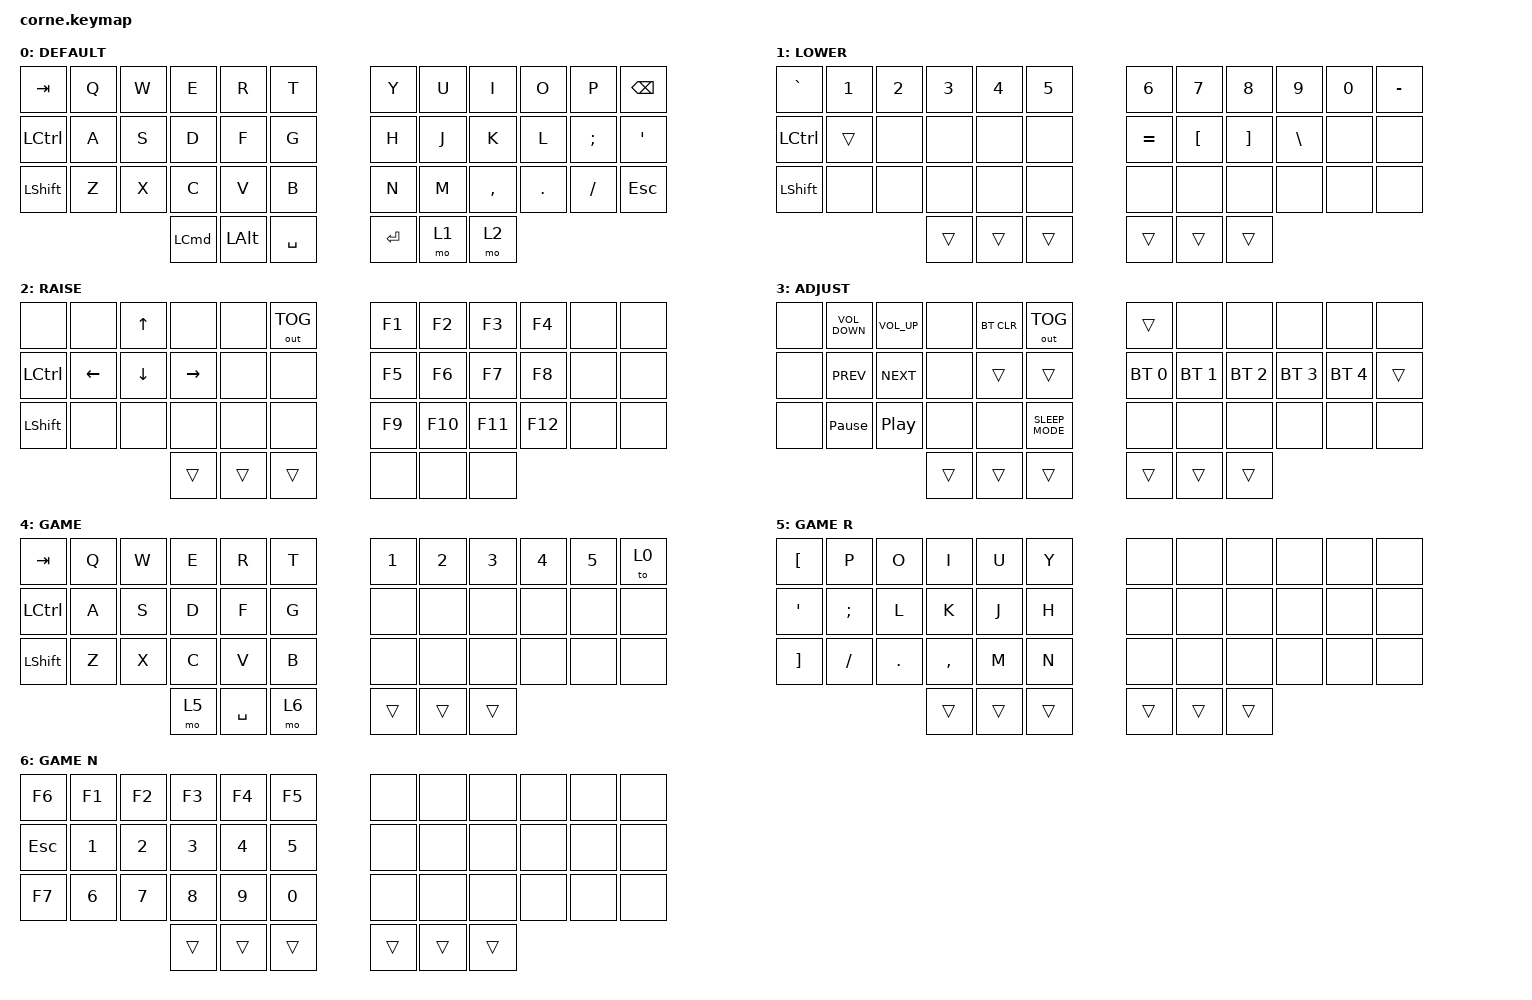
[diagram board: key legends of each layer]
/*
 * Copyright (c) 2020 The ZMK Contributors
 *
 * SPDX-License-Identifier: MIT
 */

#include <behaviors.dtsi>
#include <dt-bindings/zmk/bt.h>
#include <dt-bindings/zmk/keys.h>
#include <dt-bindings/zmk/outputs.h>

#define DEF             0
#define LOWER           1
#define RAISE           2
#define ADJ             3
#define GAME_DEF        4
#define GAME_RIGHT      5
#define GAME_NUM        6

&mt {
    flavor = "hold-preferred";
    quick-tap-ms = <200>;
};

&lt {
    flavor = "hold-preferred";
    quick-tap-ms = <200>;
};

/ {
    conditional_layers {
        compatible = "zmk,conditional-layers";

        tri_layer {
            if-layers = <LOWER RAISE>;
            then-layer = <ADJ>;
        };
    };

    behaviors {
        bm: balanced_mods {
            compatible = "zmk,behavior-hold-tap";
            label = "OUTER_MODS";
            #binding-cells = <2>;
            tapping-term-ms = <200>;// <---[[moderate duration]]
            quick-tap-ms = <0>;
            flavor = "balanced";
            bindings = <&kp>, <&kp>;
        };
    };

    combos {
        compatible = "zmk,combos";

        escape {
            bindings = <&kp ESC>;
            key-positions = <19 20>;
        };

        screenshot_mac {
            bindings = <&kp LS(LG(KP_NUMBER_4))>;
            key-positions = <13 14 15>;
        };

        zero {
            bindings = <&kp NUMBER_0>;
            key-positions = <0 1>;
        };
    };

    keymap {
        compatible = "zmk,keymap";

        default_layer {
            label = " DEFAULT";
            bindings = <
&kp TAB           &kp Q  &kp W  &kp E             &kp R         &kp T        &kp Y      &kp U  &kp I      &kp O    &kp P     &kp BSPC
&kp LEFT_CONTROL  &kp A  &kp S  &kp D             &kp F         &kp G        &kp H      &kp J  &kp K      &kp L    &kp SEMI  &kp SQT
&kp LSHFT         &kp Z  &kp X  &kp C             &kp V         &kp B        &kp N      &kp M  &kp COMMA  &kp DOT  &kp FSLH  &kp ESC
                                &kp LEFT_COMMAND  &kp LEFT_ALT  &kp SPACE    &kp ENTER  &mo 1  &mo 2
            >;
        };

        lower_layer {
            label = " LOWER";
            bindings = <
&kp GRAVE       &kp N1  &kp N2  &kp N3  &kp N4  &kp N5    &kp N6     &kp N7            &kp N8             &kp N9         &kp N0  &kp MINUS
&kp LCTRL       &trans  &none   &none   &none   &none     &kp EQUAL  &kp LEFT_BRACKET  &kp RIGHT_BRACKET  &kp BACKSLASH  &none   &none
&kp LEFT_SHIFT  &none   &none   &none   &none   &none     &none      &none             &none              &none          &none   &none
                                &trans  &trans  &trans    &trans     &trans            &trans
            >;
        };

        raise_layer {
            label = " RAISE";
            bindings = <
&none           &none     &kp UP    &none      &none   &out OUT_TOG    &kp F1  &kp F2   &kp F3   &kp F4   &none  &none
&kp LCTRL       &kp LEFT  &kp DOWN  &kp RIGHT  &none   &none           &kp F5  &kp F6   &kp F7   &kp F8   &none  &none
&kp LEFT_SHIFT  &none     &none     &none      &none   &none           &kp F9  &kp F10  &kp F11  &kp F12  &none  &none
                                    &trans     &trans  &trans          &none   &none    &none
            >;
        };

        adjust_layer {
            label = " ADJUST";
            bindings = <
&none  &kp C_VOLUME_DOWN  &kp C_VOLUME_UP  &none   &bt BT_CLR  &out OUT_TOG        &trans        &none         &none         &none         &none         &none
&none  &kp C_PREV         &kp C_NEXT       &none   &trans      &trans              &bt BT_SEL 0  &bt BT_SEL 1  &bt BT_SEL 2  &bt BT_SEL 3  &bt BT_SEL 4  &trans
&none  &kp PAUSE_BREAK    &kp C_PP         &none   &none       &kp C_SLEEP_MODE    &none         &none         &none         &none         &none         &none
                                           &trans  &trans      &trans              &trans        &trans        &trans
            >;
        };

        // GAME layers

        game_default_layer {
            label = " GAME";
            bindings = <
&kp TAB         &kp Q  &kp W  &kp E  &kp R      &kp T    &kp NUMBER_1  &kp NUMBER_2  &kp NUMBER_3  &kp NUMBER_4  &kp NUMBER_5  &to 0
&kp LCTRL       &kp A  &kp S  &kp D  &kp F      &kp G    &none         &none         &none         &none         &none         &none
&kp LEFT_SHIFT  &kp Z  &kp X  &kp C  &kp V      &kp B    &none         &none         &none         &none         &none         &none
                              &mo 5  &kp SPACE  &mo 6    &trans        &trans        &trans
            >;
        };

        game_right_layer {
            label = " GAME R";
            bindings = <
&kp LBKT  &kp P     &kp O    &kp I      &kp U   &kp Y     &none   &none   &none   &none  &none  &none
&kp SQT   &kp SEMI  &kp L    &kp K      &kp J   &kp H     &none   &none   &none   &none  &none  &none
&kp RBKT  &kp FSLH  &kp DOT  &kp COMMA  &kp M   &kp N     &none   &none   &none   &none  &none  &none
                             &trans     &trans  &trans    &trans  &trans  &trans
            >;
        };

        game_num_layer {
            label = " GAME N";
            bindings = <
&kp F6   &kp F1  &kp F2  &kp F3  &kp F4  &kp F5    &none   &none   &none   &none  &none  &none
&kp ESC  &kp N1  &kp N2  &kp N3  &kp N4  &kp N5    &none   &none   &none   &none  &none  &none
&kp F7   &kp N6  &kp N7  &kp N8  &kp N9  &kp N0    &none   &none   &none   &none  &none  &none
                         &trans  &trans  &trans    &trans  &trans  &trans
            >;
        };
    };
};
